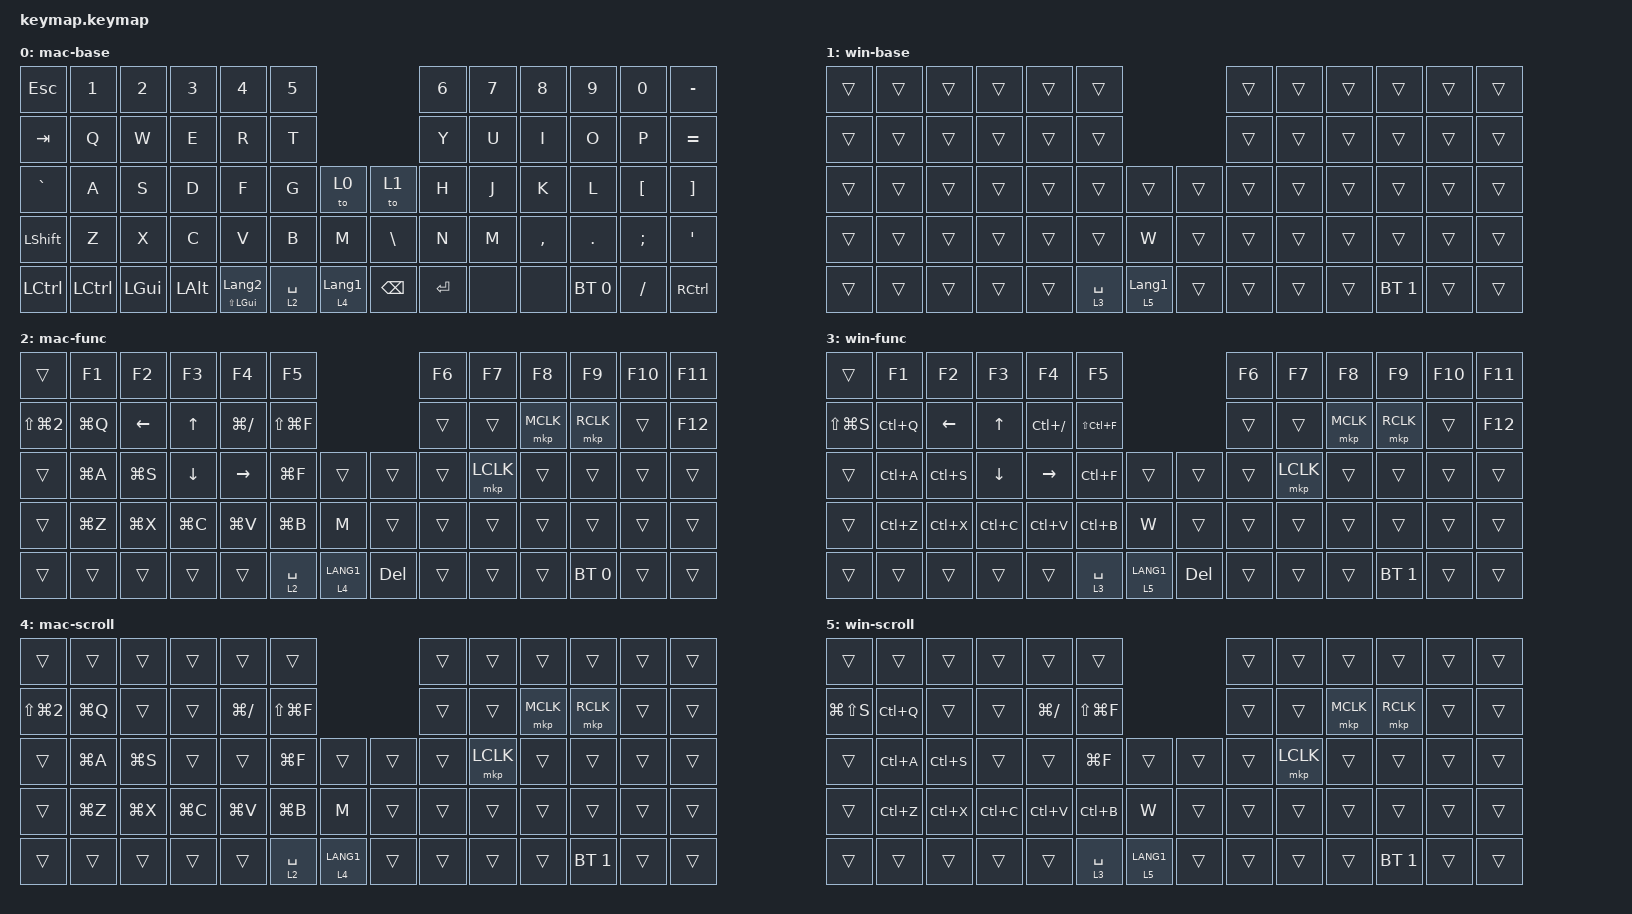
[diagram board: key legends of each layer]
#include <behaviors.dtsi>
#include <dt-bindings/zmk/bt.h>
#include <dt-bindings/zmk/keys.h>
#include <dt-bindings/zmk/pointing.h>

/ {
    combos {
        compatible = "zmk,combos";

        bt_clear {
            bindings = <&bt BT_CLR>;
            key-positions = <0 44>;
            layers = <0 1>;
        };
    };

    keymap {
        compatible = "zmk,keymap";

        mac-base {
            bindings = <
&kp ESC    &kp N1     &kp N2    &kp N3    &kp N4                       &kp N5                                        &kp N6     &kp N7  &kp N8     &kp N9        &kp N0            &kp MINUS
&kp TAB    &kp Q      &kp W     &kp E     &kp R                        &kp T                                         &kp Y      &kp U   &kp I      &kp O         &kp P             &kp EQUAL
&kp GRAVE  &kp A      &kp S     &kp D     &kp F                        &kp G        &to 0             &to 1          &kp H      &kp J   &kp K      &kp L         &kp LEFT_BRACKET  &kp RIGHT_BRACKET
&kp LSHFT  &kp Z      &kp X     &kp C     &kp V                        &kp B        &kp M             &kp BACKSLASH  &kp N      &kp M   &kp COMMA  &kp DOT       &kp SEMI          &kp SINGLE_QUOTE
&kp LCTRL  &kp LCTRL  &kp LGUI  &kp LALT  &mt LS(LEFT_GUI) LANGUAGE_2  &lt 2 SPACE  &lt 4 LANGUAGE_1  &kp BACKSPACE  &kp ENTER  &none   &none      &bt BT_SEL 0  &kp SLASH         &kp RCTRL
            >;
        };

        win-base {
            bindings = <
&trans  &trans  &trans  &trans  &trans  &trans                                 &trans  &trans  &trans  &trans        &trans  &trans
&trans  &trans  &trans  &trans  &trans  &trans                                 &trans  &trans  &trans  &trans        &trans  &trans
&trans  &trans  &trans  &trans  &trans  &trans       &trans            &trans  &trans  &trans  &trans  &trans        &trans  &trans
&trans  &trans  &trans  &trans  &trans  &trans       &kp W             &trans  &trans  &trans  &trans  &trans        &trans  &trans
&trans  &trans  &trans  &trans  &trans  &lt 3 SPACE  &lt 5 LANGUAGE_1  &trans  &trans  &trans  &trans  &bt BT_SEL 1  &trans  &trans
            >;
        };

        mac-func {
            bindings = <
&trans                &kp F1     &kp F2          &kp F3          &kp F4           &kp F5                                  &kp F6  &kp F7     &kp F8     &kp F9        &kp F10  &kp F11
&kp LS(LG(NUMBER_2))  &kp LG(Q)  &kp LEFT_ARROW  &kp UP_ARROW    &kp LG(SLASH)    &kp LS(LG(F))                           &trans  &trans     &mkp MCLK  &mkp RCLK     &trans   &kp F12
&trans                &kp LG(A)  &kp LG(S)       &kp DOWN_ARROW  &kp RIGHT_ARROW  &kp LG(F)      &trans       &trans      &trans  &mkp LCLK  &trans     &trans        &trans   &trans
&trans                &kp LG(Z)  &kp LG(X)       &kp LG(C)       &kp LG(V)        &kp LG(B)      &kp M        &trans      &trans  &trans     &trans     &trans        &trans   &trans
&trans                &trans     &trans          &trans          &trans           &lt 2 SPACE    &lt 4 LANG1  &kp DELETE  &trans  &trans     &trans     &bt BT_SEL 0  &trans   &trans
            >;
        };

        win-func {
            bindings = <
&trans         &kp F1     &kp F2          &kp F3          &kp F4           &kp F5                                  &kp F6  &kp F7     &kp F8     &kp F9        &kp F10  &kp F11
&kp LS(LG(S))  &kp LC(Q)  &kp LEFT_ARROW  &kp UP_ARROW    &kp LC(SLASH)    &kp LS(LC(F))                           &trans  &trans     &mkp MCLK  &mkp RCLK     &trans   &kp F12
&trans         &kp LC(A)  &kp LC(S)       &kp DOWN_ARROW  &kp RIGHT_ARROW  &kp LC(F)      &trans       &trans      &trans  &mkp LCLK  &trans     &trans        &trans   &trans
&trans         &kp LC(Z)  &kp LC(X)       &kp LC(C)       &kp LC(V)        &kp LC(B)      &kp W        &trans      &trans  &trans     &trans     &trans        &trans   &trans
&trans         &trans     &trans          &trans          &trans           &lt 3 SPACE    &lt 5 LANG1  &kp DELETE  &trans  &trans     &trans     &bt BT_SEL 1  &trans   &trans
            >;
        };

        mac-scroll {
            bindings = <
&trans                &trans     &trans     &trans     &trans         &trans                              &trans  &trans     &trans     &trans        &trans  &trans
&kp LS(LG(NUMBER_2))  &kp LG(Q)  &trans     &trans     &kp LG(SLASH)  &kp LS(LG(F))                       &trans  &trans     &mkp MCLK  &mkp RCLK     &trans  &trans
&trans                &kp LG(A)  &kp LG(S)  &trans     &trans         &kp LG(F)      &trans       &trans  &trans  &mkp LCLK  &trans     &trans        &trans  &trans
&trans                &kp LG(Z)  &kp LG(X)  &kp LG(C)  &kp LG(V)      &kp LG(B)      &kp M        &trans  &trans  &trans     &trans     &trans        &trans  &trans
&trans                &trans     &trans     &trans     &trans         &lt 2 SPACE    &lt 4 LANG1  &trans  &trans  &trans     &trans     &bt BT_SEL 1  &trans  &trans
            >;
        };

        win-scroll {
            bindings = <
&trans         &trans     &trans     &trans     &trans         &trans                              &trans  &trans     &trans     &trans        &trans  &trans
&kp LG(LS(S))  &kp LC(Q)  &trans     &trans     &kp LG(SLASH)  &kp LS(LG(F))                       &trans  &trans     &mkp MCLK  &mkp RCLK     &trans  &trans
&trans         &kp LC(A)  &kp LC(S)  &trans     &trans         &kp LG(F)      &trans       &trans  &trans  &mkp LCLK  &trans     &trans        &trans  &trans
&trans         &kp LC(Z)  &kp LC(X)  &kp LC(C)  &kp LC(V)      &kp LC(B)      &kp W        &trans  &trans  &trans     &trans     &trans        &trans  &trans
&trans         &trans     &trans     &trans     &trans         &lt 3 SPACE    &lt 5 LANG1  &trans  &trans  &trans     &trans     &bt BT_SEL 1  &trans  &trans
            >;
        };
    };
};
